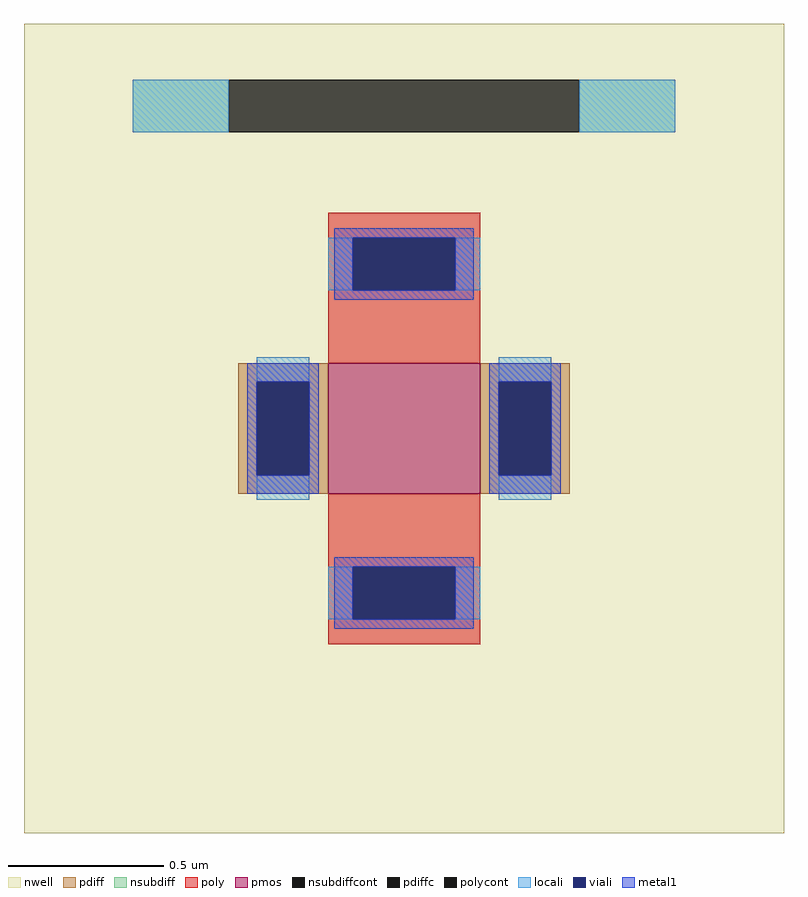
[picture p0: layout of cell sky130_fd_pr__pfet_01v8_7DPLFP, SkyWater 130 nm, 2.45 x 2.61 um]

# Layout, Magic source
magic
tech sky130A
magscale 1 2
<< nwell >>
rect -245 -261 245 261
<< pmos >>
rect -49 -42 49 42
<< pdiff >>
rect -107 30 -49 42
rect -107 -30 -95 30
rect -61 -30 -49 30
rect -107 -42 -49 -30
rect 49 30 107 42
rect 49 -30 61 30
rect 95 -30 107 30
rect 49 -42 107 -30
<< pdiffc >>
rect -95 -30 -61 30
rect 61 -30 95 30
<< nsubdiff >>
rect -175 191 -113 225
rect 113 191 175 225
<< nsubdiffcont >>
rect -113 191 113 225
<< poly >>
rect -49 123 49 139
rect -49 89 -33 123
rect 33 89 49 123
rect -49 42 49 89
rect -49 -89 49 -42
rect -49 -123 -33 -89
rect 33 -123 49 -89
rect -49 -139 49 -123
<< polycont >>
rect -33 89 33 123
rect -33 -123 33 -89
<< locali >>
rect -175 191 -113 225
rect 113 191 175 225
rect -49 89 -33 123
rect 33 89 49 123
rect -95 30 -61 46
rect -95 -46 -61 -30
rect 61 30 95 46
rect 61 -46 95 -30
rect -49 -123 -33 -89
rect 33 -123 49 -89
<< viali >>
rect -33 89 33 123
rect -95 -30 -61 30
rect 61 -30 95 30
rect -33 -123 33 -89
<< metal1 >>
rect -45 123 45 129
rect -45 89 -33 123
rect 33 89 45 123
rect -45 83 45 89
rect -101 30 -55 42
rect -101 -30 -95 30
rect -61 -30 -55 30
rect -101 -42 -55 -30
rect 55 30 101 42
rect 55 -30 61 30
rect 95 -30 101 30
rect 55 -42 101 -30
rect -45 -89 45 -83
rect -45 -123 -33 -89
rect 33 -123 45 -89
rect -45 -129 45 -123
<< properties >>
string FIXED_BBOX -192 -208 192 208
string gencell sky130_fd_pr__pfet_01v8
string library sky130
string parameters w 0.42 l 0.494 m 1 nf 1 diffcov 100 polycov 100 guard 1 glc 1 grc 1 gtc 1 gbc 1 tbcov 100 rlcov 100 topc 1 botc 1 poverlap 0 doverlap 1 lmin 0.15 wmin 0.42 compatible {sky130_fd_pr__pfet_01v8  sky130_fd_pr__pfet_01v8_lvt sky130_fd_pr__pfet_01v8_hvt  sky130_fd_pr__pfet_g5v0d10v5} full_metal 1 viasrc 100 viadrn 100 viagate 100 viagb 0 viagr 0 viagl 0 viagt 0
<< end >>
